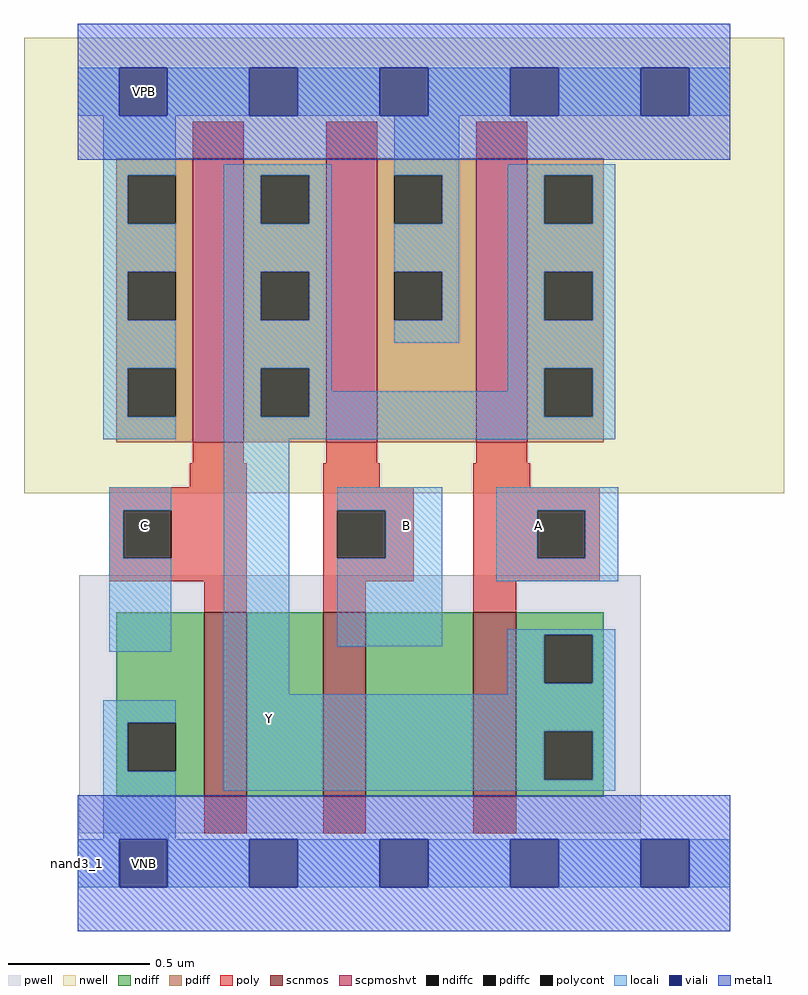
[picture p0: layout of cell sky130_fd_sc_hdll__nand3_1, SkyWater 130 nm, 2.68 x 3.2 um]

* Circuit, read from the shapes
.subckt sky130_fd_sc_hdll__nand3_1 A B C VGND VNB VPB VPWR Y
XM1 n1 C VGND VNB sky130_fd_pr__nfet_01v8 w=0.65 l=0.15
XM2 n2 B n1 VNB sky130_fd_pr__nfet_01v8 w=0.65 l=0.15
XM3 Y A n2 VNB sky130_fd_pr__nfet_01v8 w=0.65 l=0.15
XM4 Y C VPWR VPB sky130_fd_pr__pfet_01v8_hvt w=1 l=0.18
XM5 VPWR B Y VPB sky130_fd_pr__pfet_01v8_hvt w=1 l=0.18
XM6 Y A VPWR VPB sky130_fd_pr__pfet_01v8_hvt w=1 l=0.18
.ends

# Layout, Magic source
magic
tech sky130A
magscale 1 2
<< nwell >>
rect -38 261 498 582
<< pwell >>
rect 1 21 397 203
rect 30 -17 64 21
<< scnmos >>
rect 89 47 119 177
rect 173 47 203 177
rect 279 47 309 177
<< scpmoshvt >>
rect 81 297 117 497
rect 175 297 211 497
rect 281 297 317 497
<< ndiff >>
rect 27 99 89 177
rect 27 65 35 99
rect 69 65 89 99
rect 27 47 89 65
rect 119 47 173 177
rect 203 47 279 177
rect 309 161 371 177
rect 309 127 329 161
rect 363 127 371 161
rect 309 93 371 127
rect 309 59 329 93
rect 363 59 371 93
rect 309 47 371 59
<< pdiff >>
rect 27 485 81 497
rect 27 451 35 485
rect 69 451 81 485
rect 27 417 81 451
rect 27 383 35 417
rect 69 383 81 417
rect 27 349 81 383
rect 27 315 35 349
rect 69 315 81 349
rect 27 297 81 315
rect 117 485 175 497
rect 117 451 129 485
rect 163 451 175 485
rect 117 417 175 451
rect 117 383 129 417
rect 163 383 175 417
rect 117 349 175 383
rect 117 315 129 349
rect 163 315 175 349
rect 117 297 175 315
rect 211 485 281 497
rect 211 451 223 485
rect 257 451 281 485
rect 211 417 281 451
rect 211 383 223 417
rect 257 383 281 417
rect 211 297 281 383
rect 317 485 371 497
rect 317 451 329 485
rect 363 451 371 485
rect 317 417 371 451
rect 317 383 329 417
rect 363 383 371 417
rect 317 349 371 383
rect 317 315 329 349
rect 363 315 371 349
rect 317 297 371 315
<< ndiffc >>
rect 35 65 69 99
rect 329 127 363 161
rect 329 59 363 93
<< pdiffc >>
rect 35 451 69 485
rect 35 383 69 417
rect 35 315 69 349
rect 129 451 163 485
rect 129 383 163 417
rect 129 315 163 349
rect 223 451 257 485
rect 223 383 257 417
rect 329 451 363 485
rect 329 383 363 417
rect 329 315 363 349
<< poly >>
rect 81 497 117 523
rect 175 497 211 523
rect 281 497 317 523
rect 81 282 117 297
rect 175 282 211 297
rect 281 282 317 297
rect 79 265 119 282
rect 22 249 119 265
rect 22 215 32 249
rect 66 215 119 249
rect 22 199 119 215
rect 89 177 119 199
rect 173 265 213 282
rect 279 265 319 282
rect 173 249 237 265
rect 173 215 183 249
rect 217 215 237 249
rect 173 199 237 215
rect 279 249 368 265
rect 279 215 324 249
rect 358 215 368 249
rect 279 199 368 215
rect 173 177 203 199
rect 279 177 309 199
rect 89 21 119 47
rect 173 21 203 47
rect 279 21 309 47
<< polycont >>
rect 32 215 66 249
rect 183 215 217 249
rect 324 215 358 249
<< locali >>
rect 0 527 29 561
rect 63 527 121 561
rect 155 527 213 561
rect 247 527 305 561
rect 339 527 397 561
rect 431 527 460 561
rect 18 485 69 527
rect 18 451 35 485
rect 18 417 69 451
rect 18 383 35 417
rect 18 349 69 383
rect 18 315 35 349
rect 18 299 69 315
rect 103 485 179 493
rect 103 451 129 485
rect 163 451 179 485
rect 103 417 179 451
rect 103 383 129 417
rect 163 383 179 417
rect 103 349 179 383
rect 223 485 269 527
rect 257 451 269 485
rect 223 417 269 451
rect 257 383 269 417
rect 223 367 269 383
rect 303 485 379 493
rect 303 451 329 485
rect 363 451 379 485
rect 303 417 379 451
rect 303 383 329 417
rect 363 383 379 417
rect 103 315 129 349
rect 163 333 179 349
rect 303 349 379 383
rect 303 333 329 349
rect 163 315 329 333
rect 363 315 379 349
rect 103 299 379 315
rect 22 249 66 265
rect 22 215 32 249
rect 22 149 66 215
rect 103 119 149 299
rect 183 249 257 265
rect 217 215 257 249
rect 183 153 257 215
rect 295 249 381 265
rect 295 215 324 249
rect 358 215 381 249
rect 295 199 381 215
rect 303 161 379 165
rect 303 127 329 161
rect 363 127 379 161
rect 303 119 379 127
rect 18 99 69 115
rect 18 65 35 99
rect 18 17 69 65
rect 103 93 379 119
rect 103 59 329 93
rect 363 59 379 93
rect 103 51 379 59
rect 0 -17 29 17
rect 63 -17 121 17
rect 155 -17 213 17
rect 247 -17 305 17
rect 339 -17 397 17
rect 431 -17 460 17
<< viali >>
rect 29 527 63 561
rect 121 527 155 561
rect 213 527 247 561
rect 305 527 339 561
rect 397 527 431 561
rect 29 -17 63 17
rect 121 -17 155 17
rect 213 -17 247 17
rect 305 -17 339 17
rect 397 -17 431 17
<< metal1 >>
rect 0 561 460 592
rect 0 527 29 561
rect 63 527 121 561
rect 155 527 213 561
rect 247 527 305 561
rect 339 527 397 561
rect 431 527 460 561
rect 0 496 460 527
rect 0 17 460 48
rect 0 -17 29 17
rect 63 -17 121 17
rect 155 -17 213 17
rect 247 -17 305 17
rect 339 -17 397 17
rect 431 -17 460 17
rect 0 -48 460 -17
<< labels >>
flabel locali s 118 85 152 119 0 FreeSans 250 0 0 0 Y
port 8 nsew signal output
flabel locali s 308 221 342 255 0 FreeSans 250 0 0 0 A
port 1 nsew signal input
flabel locali s 30 221 64 255 0 FreeSans 250 0 0 0 C
port 3 nsew signal input
flabel locali s 215 221 249 255 0 FreeSans 250 0 0 0 B
port 2 nsew signal input
flabel nwell s 30 527 64 561 0 FreeSans 200 0 0 0 VPB
port 6 nsew power bidirectional
flabel pwell s 30 -17 64 17 0 FreeSans 200 0 0 0 VNB
port 5 nsew ground bidirectional
flabel metal1 s 30 -17 64 17 0 FreeSans 200 0 0 0 VGND
port 4 nsew ground bidirectional
flabel metal1 s 30 527 64 561 0 FreeSans 200 0 0 0 VPWR
port 7 nsew power bidirectional
rlabel comment s 0 0 0 0 4 nand3_1
<< properties >>
string LEFsite unithd
string LEFclass CORE
string FIXED_BBOX 0 0 460 544
string GDS_FILE $PDKPATH/libs.ref/sky130_fd_sc_hdll/gds/sky130_fd_sc_hdll.gds
string LEFsymmetry X Y R90
string GDS_END 645360
string GDS_START 640762
string LEFproperties maskLayoutSubType "abstract" prCellType "standard" originalViewName "layout"
<< end >>
